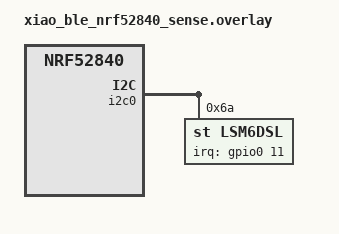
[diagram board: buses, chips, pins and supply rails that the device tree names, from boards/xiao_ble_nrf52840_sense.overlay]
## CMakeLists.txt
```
cmake_minimum_required(VERSION 3.20.0)
find_package(Zephyr REQUIRED HINTS $ENV{ZEPHYR_BASE})
project(imu_node)

target_sources(app PRIVATE src/main.c)
```

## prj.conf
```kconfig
CONFIG_SENSOR=y
CONFIG_I2C=y
CONFIG_GPIO=y
CONFIG_LOG=y
CONFIG_LOG_DEFAULT_LEVEL=3
CONFIG_MAIN_STACK_SIZE=2048
```

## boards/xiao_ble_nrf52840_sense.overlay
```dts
/*
 * Zephyr ST IMU overlay template.
 *
 * TODO: Confirm the real sensor bus, address strap, IRQ pin, and board
 * revision before treating this as hardware truth.
 */

/ {
    aliases {
        imu0 = &lsm6dsl;
    };
};

&i2c0 {
    status = "okay";

    lsm6dsl: lsm6dsl@6a {
        compatible = "st,lsm6dsl";
        reg = <0x6a>;
        status = "okay";
        irq-gpios = <&gpio0 11 GPIO_ACTIVE_HIGH>;
    };
};
```

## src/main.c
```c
#include <zephyr/device.h>
#include <zephyr/drivers/sensor.h>
#include <zephyr/kernel.h>
#include <zephyr/logging/log.h>

LOG_MODULE_REGISTER(imu_node, LOG_LEVEL_INF);

#if DT_HAS_COMPAT_STATUS_OKAY(st_lsm6dsl)
#define IMU_NODE DT_COMPAT_GET_ANY_STATUS_OKAY(st_lsm6dsl)
#elif DT_NODE_HAS_STATUS(DT_ALIAS(imu0), okay)
#define IMU_NODE DT_ALIAS(imu0)
#else
#error "No enabled IMU node found. Add an imu0 alias or st,lsm6dsl node in the board overlay."
#endif

int main(void)
{
    const struct device *imu = DEVICE_DT_GET(IMU_NODE);

    LOG_INF("IMU scaffold start");
    if (!device_is_ready(imu)) {
        LOG_ERR("IMU device is not ready: %s", imu->name);
        return 0;
    }

    LOG_INF("IMU device ready: %s", imu->name);

    while (1) {
        struct sensor_value accel[3];
        int rc = sensor_sample_fetch(imu);

        if (rc == 0) {
            rc = sensor_channel_get(imu, SENSOR_CHAN_ACCEL_XYZ, accel);
        }

        if (rc == 0) {
            LOG_INF("accel x=%d.%06d y=%d.%06d z=%d.%06d",
                    accel[0].val1, accel[0].val2,
                    accel[1].val1, accel[1].val2,
                    accel[2].val1, accel[2].val2);
        } else {
            LOG_ERR("sensor sample failed: %d", rc);
        }

        k_sleep(K_SECONDS(1));
    }
}
```
